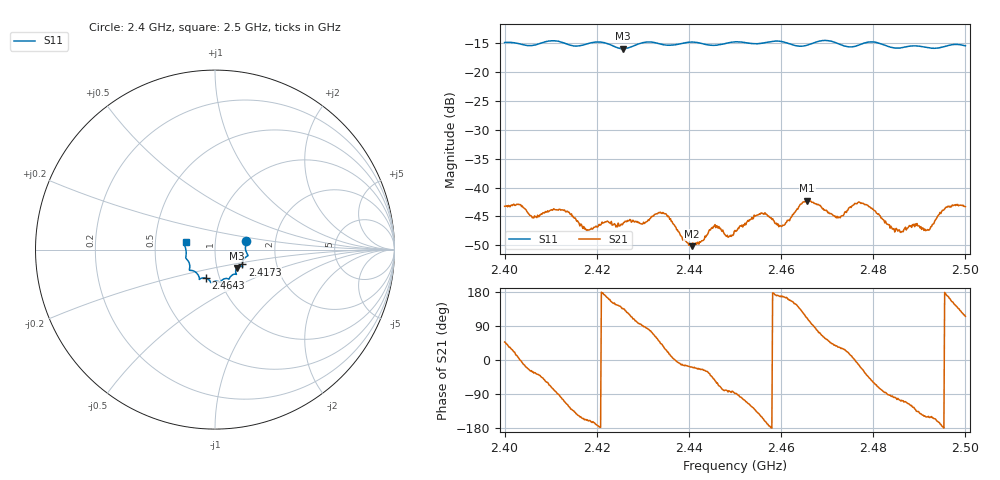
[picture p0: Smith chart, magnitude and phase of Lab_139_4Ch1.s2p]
# Hz S RI R 50
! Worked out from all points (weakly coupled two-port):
!   601 points, 2.4 GHz to 2.5 GHz, reference 50 ohm
!   highest |S21| = -42.26 dB at 2.4657 GHz (marker M1); lowest = -50.1 dB at 2.4407 GHz (marker M2)
!   lowest |S11| = -15.9 dB at 2.4257 GHz (marker M3), VSWR 1.38, Z = 62.4 - j13.1 ohm
!   |S11| at or under -10 dB: start of sweep to end of sweep
!   S12 and S22 are empty: the file has one direction only
!   S11 on the Smith chart (normalised r, x): 2.4 GHz: 1.41, +0.14; 2.4173 GHz: 1.34, -0.23; 2.4643 GHz: 0.86, -0.28; 2.5 GHz: 0.72, +0.06
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2.4e9  0.1737 0.0492  0.00466 0.00508  0 0  0 0
2.403333e9  0.1727 0.0318  0.00713 -1.35e-05  0 0  0 0
2.4065e9  0.1715 -0.00476  0.00477 -0.00311  0 0  0 0
2.4125e9  0.1772 -0.0379  -0.00146 -0.00625  0 0  0 0
2.416667e9  0.1528 -0.0753  -0.00424 -0.00226  0 0  0 0
2.417333e9  0.1521 -0.0828  -0.00406 -0.00165  0 0  0 0
2.425667e9  0.1223 -0.1023  -0.00349 0.00337  0 0  0 0
2.433333e9  0.1128 -0.1367  0.00369 0.00478  0 0  0 0
2.440667e9  0.0786 -0.1644  0.00295 -0.000999  0 0  0 0
2.4455e9  0.0508 -0.163  0.0029 -0.00358  0 0  0 0
2.45e9  0.0298 -0.1807  0.00011 -0.00426  0 0  0 0
2.4555e9  -0.0026 -0.1773  -0.00491 -0.00327  0 0  0 0
2.460333e9  -0.0244 -0.1818  -0.00463 0.00096  0 0  0 0
2.464333e9  -0.0503 -0.16  -0.00476 0.00542  0 0  0 0
2.465667e9  -0.0661 -0.1578  -0.00267 0.00723  0 0  0 0
2.466667e9  -0.0761 -0.1594  -0.000537 0.00743  0 0  0 0
2.472333e9  -0.0883 -0.1536  0.00453 0.00305  0 0  0 0
2.477333e9  -0.13 -0.1163  0.00682 -0.00256  0 0  0 0
2.483333e9  -0.1406 -0.0893  -0.000178 -0.00477  0 0  0 0
2.491833e9  -0.1608 -0.0271  -0.00374 -0.00219  0 0  0 0
2.495833e9  -0.1671 0.0181  -0.00672 0.000903  0 0  0 0
2.5e9  -0.1637 0.0419  -0.0029 0.00619  0 0  0 0
